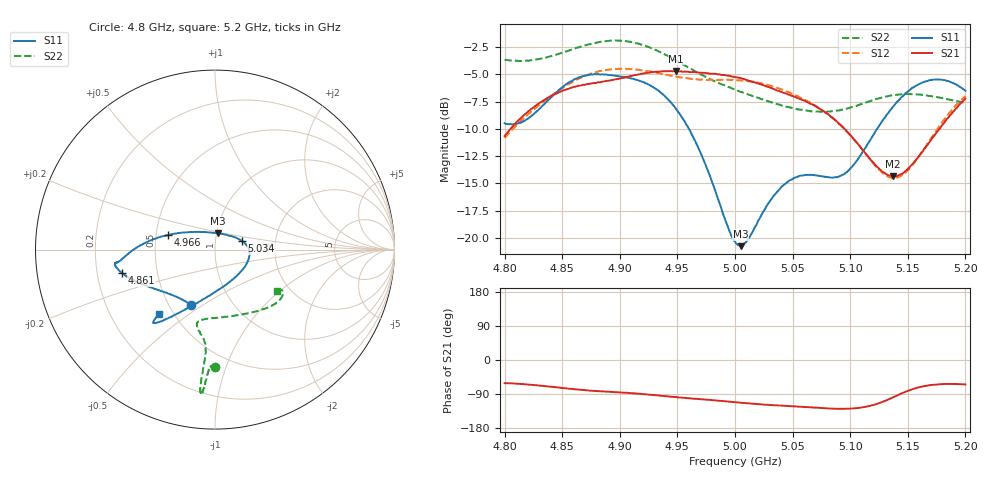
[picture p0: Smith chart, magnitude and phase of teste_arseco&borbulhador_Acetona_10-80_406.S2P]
! Network Analyzer HP8722D
! Hewlett-Packard
! Data name: Linha & Wilkinson
! Saver's name: Rodrigo Anjos
! Comments: Teste da utilização de aquisição
! continua pelo VNA HP8722D
! Time and date: 17/4/2025 17:44
!  Frequency  S11  S21  S12  S22
# HZ  S  MA R 50
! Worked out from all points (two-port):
!   401 points, 4.8 GHz to 5.2 GHz, reference 50 ohm
!   highest |S21| = -4.68 dB at 4.949 GHz (marker M1); lowest = -14.4 dB at 5.137 GHz (marker M2)
!   |S21| within 3 dB of the highest: 4.829 GHz to 5.065 GHz (235.8 MHz wide, 4.77 % of centre); 5.19559 GHz to end of sweep
!   lowest |S11| = -20.7 dB at 5.005 GHz (marker M3), VSWR 1.20, Z = 50.6 + j9.25 ohm
!   |S11| at or under -10 dB: 4.96 GHz to 5.123 GHz (163.3 MHz wide, 3.24 % of centre)
!   |S22| runs from -8.5 to -1.9 dB; largest |S21 - S12| = 0.87
!   S11 on the Smith chart (normalised r, x): 4.8 GHz: 0.64, -0.44; 4.861 GHz: 0.31, -0.11; 4.966 GHz: 0.58, +0.10; 5.034 GHz: 1.34, +0.14; 5.2 GHz: 0.42, -0.39
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4.8e9  0.3357 -113.9  0.2933 -61.0  0.2876 -175.1  0.6562 -90.2
4.819e9  0.3498 -133.9  0.3744 -64.4  0.3631 -173.9  0.6506 -91.8
4.861e9  0.5351 -165.8  0.4935 -77.4  0.5272 -177.0  0.7379 -94.2
4.867e9  0.5502 -168.2  0.5014 -79.0  0.5462 -178.3  0.756 -94.3
4.899e9  0.5512 -172.6  0.5357 -85.6  0.5973 175.1  0.8035 -95.6
4.934e9  0.472 -178.4  0.5789 -93.9  0.5709 171.4  0.7152 -96.0
4.949e9  0.3893 174.5  0.5833 -97.7  0.5501 171.9  0.6514 -95.7
4.966e9  0.2744 162.8  0.5745 -102.3  0.5347 173.5  0.5779 -95.2
5e9  0.09629 99.7  0.5464 -111.4  0.5297 175.9  0.4794 -99.3
5.005e9  0.09175 81.1  0.5406 -112.8  0.5269 175.9  0.4668 -100.2
5.011e9  0.09826 60.6  0.5289 -114.4  0.5236 175.7  0.4563 -101.7
5.034e9  0.157 18.2  0.4803 -119.5  0.4934 174.6  0.4142 -103.4
5.05e9  0.1863 2.1  0.4491 -122.2  0.4565 173.9  0.3943 -99.2
5.067e9  0.1947 -16.1  0.41 -125.0  0.4133 173.5  0.3808 -90.5
5.086e9  0.1898 -46.4  0.3512 -128.4  0.3505 173.6  0.382 -75.9
5.097e9  0.2004 -68.7  0.308 -128.6  0.3085 174.7  0.3916 -66.9
5.123e9  0.3142 -108.6  0.2127 -116.1  0.2114 -170.6  0.4344 -48.6
5.134e9  0.3809 -117.3  0.1932 -102.9  0.19 -156.0  0.4485 -43.0
5.137e9  0.3987 -119.1  0.1916 -98.8  0.1885 -151.1  0.4516 -41.8
5.15e9  0.469 -124.9  0.2075 -81.7  0.2037 -131.3  0.4568 -36.8
5.17e9  0.5295 -129.4  0.2804 -66.0  0.2853 -112.3  0.4476 -32.2
5.2e9  0.4727 -130.9  0.4353 -64.6  0.4474 -106.8  0.4163 -33.6
